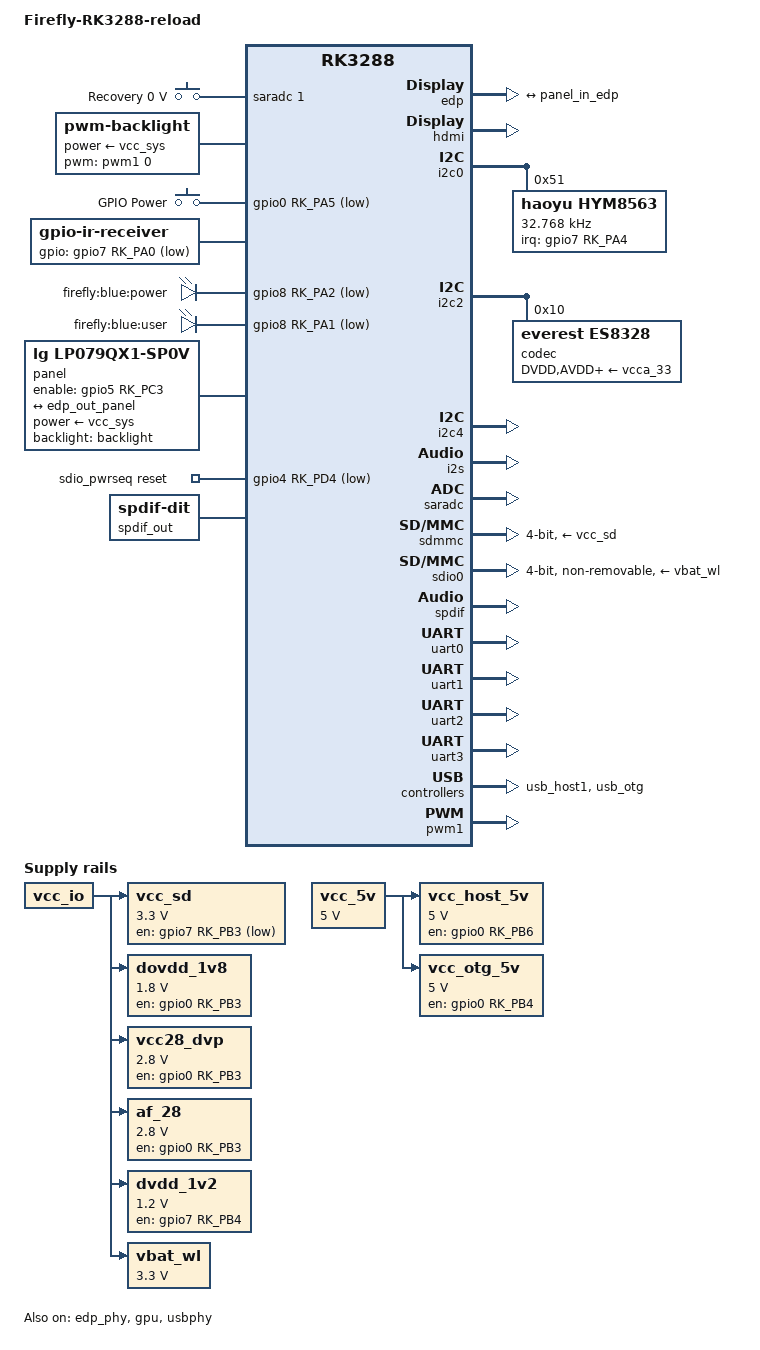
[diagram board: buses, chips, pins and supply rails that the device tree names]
/*
 * Device tree file for Firefly Rockchip RK3288 Core board
 * Copyright (c) 2016 Randy Li <ayaka@soulik.info>
 *
 * This file is dual-licensed: you can use it either under the terms
 * of the GPL or the X11 license, at your option. Note that this dual
 * licensing only applies to this file, and not this project as a
 * whole.
 *
 *  a) This file is free software; you can redistribute it and/or
 *     modify it under the terms of the GNU General Public License as
 *     published by the Free Software Foundation; either version 2 of the
 *     License, or (at your option) any later version.
 *
 *     This file is distributed in the hope that it will be useful,
 *     but WITHOUT ANY WARRANTY; without even the implied warranty of
 *     MERCHANTABILITY or FITNESS FOR A PARTICULAR PURPOSE.  See the
 *     GNU General Public License for more details.
 *
 * Or, alternatively,
 *
 *  b) Permission is hereby granted, free of charge, to any person
 *     obtaining a copy of this software and associated documentation
 *     files (the "Software"), to deal in the Software without
 *     restriction, including without limitation the rights to use,
 *     copy, modify, merge, publish, distribute, sublicense, and/or
 *     sell copies of the Software, and to permit persons to whom the
 *     Software is furnished to do so, subject to the following
 *     conditions:
 *
 *     The above copyright notice and this permission notice shall be
 *     included in all copies or substantial portions of the Software.
 *
 *     THE SOFTWARE IS PROVIDED "AS IS", WITHOUT WARRANTY OF ANY KIND,
 *     EXPRESS OR IMPLIED, INCLUDING BUT NOT LIMITED TO THE WARRANTIES
 *     OF MERCHANTABILITY, FITNESS FOR A PARTICULAR PURPOSE AND
 *     NONINFRINGEMENT. IN NO EVENT SHALL THE AUTHORS OR COPYRIGHT
 *     HOLDERS BE LIABLE FOR ANY CLAIM, DAMAGES OR OTHER LIABILITY,
 *     WHETHER IN AN ACTION OF CONTRACT, TORT OR OTHERWISE, ARISING
 *     FROM, OUT OF OR IN CONNECTION WITH THE SOFTWARE OR THE USE OR
 *     OTHER DEALINGS IN THE SOFTWARE.
 */

/dts-v1/;
#include <dt-bindings/pwm/pwm.h>
#include "rk3288-firefly-reload-core.dtsi"

/ {
	model = "Firefly-RK3288-reload";
	compatible = "firefly,firefly-rk3288-reload", "rockchip,rk3288";

	adc-keys {
		compatible = "adc-keys";
		io-channels = <&saradc 1>;
		io-channel-names = "buttons";
		keyup-threshold-microvolt = <1800000>;

		button-recovery {
			label = "Recovery";
			linux,code = <KEY_BACK>;
			press-threshold-microvolt = <0>;
		};
	};

	backlight: backlight {
		compatible = "pwm-backlight";
		brightness-levels = <
			  3   4   5   6   7
			  8   9  10  11  12  13  14  15
			 16  17  18  19  20  21  22  23
			 24  25  26  27  28  29  30  31
			 32  33  34  35  36  37  38  39
			 40  41  42  43  44  45  46  47
			 48  49  50  51  52  53  54  55
			 56  57  58  59  60  61  62  63
			 64  65  66  67  68  69  70  71
			 72  73  74  75  76  77  78  79
			 80  81  82  83  84  85  86  87
			 88  89  90  91  92  93  94  95
			 96  97  98  99 100 101 102 103
			104 105 106 107 108 109 110 111
			112 113 114 115 116 117 118 119
			120 121 122 123 124 125 126 127
			128 129 130 131 132 133 134 135
			136 137 138 139 140 141 142 143
			144 145 146 147 148 149 150 151
			152 153 154 155 156 157 158 159
			160 161 162 163 164 165 166 167
			168 169 170 171 172 173 174 175
			176 177 178 179 180 181 182 183
			184 185 186 187 188 189 190 191
			192 193 194 195 196 197 198 199
			200 201 202 203 204 205 206 207
			208 209 210 211 212 213 214 215
			216 217 218 219 220 221 222 223
			224 225 226 227 228 229 230 231
			232 233 234 235 236 237 238 239
			240 241 242 243 244 245 246 247
			248 249 250 251 252 253 254 255>;
		default-brightness-level = <180>;
		pwms = <&pwm1 0 25000 0>;
		pwm-names = "backlight";
		power-supply = <&vcc_sys>;
	};

	gpio-keys {
		compatible = "gpio-keys";

		power {
			wakeup-source;
			gpios = <&gpio0 RK_PA5 GPIO_ACTIVE_LOW>;
			label = "GPIO Power";
			linux,code = <KEY_POWER>;
			pinctrl-names = "default";
			pinctrl-0 = <&pwr_key>;
		};
	};

	ir-receiver {
		compatible = "gpio-ir-receiver";
		gpios = <&gpio7 RK_PA0 GPIO_ACTIVE_LOW>;
	};

	leds {
		compatible = "gpio-leds";

		power {
			gpios = <&gpio8 RK_PA2 GPIO_ACTIVE_LOW>;
			label = "firefly:blue:power";
			pinctrl-names = "default";
			pinctrl-0 = <&power_led>;
			panic-indicator;
		};

		work {
			gpios = <&gpio8 RK_PA1 GPIO_ACTIVE_LOW>;
			label = "firefly:blue:user";
			linux,default-trigger = "rc-feedback";
			pinctrl-names = "default";
			pinctrl-0 = <&work_led>;
		};
	};

	panel: panel {
		compatible ="lg,lp079qx1-sp0v";
		power-supply = <&vcc_sys>;
		backlight = <&backlight>;
		enable-gpios = <&gpio5 RK_PC3 GPIO_ACTIVE_HIGH>;
		status = "okay";

		ports {
			panel_in: port {
				panel_in_edp: endpoint {
					remote-endpoint = <&edp_out_panel>;
				};
			};
		};
	};

	sdio_pwrseq: sdio-pwrseq {
		compatible = "mmc-pwrseq-simple";
		clocks = <&hym8563>;
		clock-names = "ext_clock";
		pinctrl-names = "default";
		pinctrl-0 = <&wifi_enable>;
		reset-gpios = <&gpio4 RK_PD4 GPIO_ACTIVE_LOW>;
	};

	sound {
		compatible = "simple-audio-card";
		simple-audio-card,name = "SPDIF";
		simple-audio-card,dai-link@1 {  /* S/PDIF - S/PDIF */
			cpu { sound-dai = <&spdif>; };
			codec { sound-dai = <&spdif_out>; };
		};
	};

	spdif_out: spdif-out {
		compatible = "linux,spdif-dit";
		#sound-dai-cells = <0>;
	};

	vcc_host_5v: usb-host-regulator {
		compatible = "regulator-fixed";
		enable-active-high;
		gpio = <&gpio0 RK_PB6 GPIO_ACTIVE_HIGH>;
		pinctrl-names = "default";
		pinctrl-0 = <&host_vbus_drv>;
		regulator-name = "vcc_host_5v";
		regulator-min-microvolt = <5000000>;
		regulator-max-microvolt = <5000000>;
		regulator-always-on;
		vin-supply = <&vcc_5v>;
	};

	vcc_5v: vcc_sys: vsys-regulator {
		compatible = "regulator-fixed";
		regulator-name = "vcc_5v";
		regulator-min-microvolt = <5000000>;
		regulator-max-microvolt = <5000000>;
		regulator-always-on;
		regulator-boot-on;
	};

	vcc_sd: sdmmc-regulator {
		compatible = "regulator-fixed";
		gpio = <&gpio7 RK_PB3 GPIO_ACTIVE_LOW>;
		pinctrl-names = "default";
		pinctrl-0 = <&sdmmc_pwr>;
		regulator-name = "vcc_sd";
		regulator-min-microvolt = <3300000>;
		regulator-max-microvolt = <3300000>;
		startup-delay-us = <100000>;
		vin-supply = <&vcc_io>;
	};

	vcc_otg_5v: usb-otg-regulator {
		compatible = "regulator-fixed";
		enable-active-high;
		gpio = <&gpio0 RK_PB4 GPIO_ACTIVE_HIGH>;
		pinctrl-names = "default";
		pinctrl-0 = <&otg_vbus_drv>;
		regulator-name = "vcc_otg_5v";
		regulator-min-microvolt = <5000000>;
		regulator-max-microvolt = <5000000>;
		regulator-always-on;
		vin-supply = <&vcc_5v>;
	};

	dovdd_1v8: dovdd-1v8-regulator {
		compatible = "regulator-fixed";
		enable-active-high;
		gpio = <&gpio0 RK_PB3 GPIO_ACTIVE_HIGH>;
		pinctrl-names = "default";
		pinctrl-0 = <&dvp_pwr>;
		regulator-name = "dovdd_1v8";
		regulator-min-microvolt = <1800000>;
		regulator-max-microvolt = <1800000>;
		vin-supply = <&vcc_io>;
	};

	vcc28_dvp: vcc28-dvp-regulator {
		compatible = "regulator-fixed";
		enable-active-high;
		gpio = <&gpio0 RK_PB3 GPIO_ACTIVE_HIGH>;
		pinctrl-names = "default";
		pinctrl-0 = <&dvp_pwr>;
		regulator-name = "vcc28_dvp";
		regulator-min-microvolt = <2800000>;
		regulator-max-microvolt = <2800000>;
		vin-supply = <&vcc_io>;
	};

	af_28: af_28-regulator {
		compatible = "regulator-fixed";
		enable-active-high;
		gpio = <&gpio0 RK_PB3 GPIO_ACTIVE_HIGH>;
		pinctrl-names = "default";
		pinctrl-0 = <&dvp_pwr>;
		regulator-name = "af_28";
		regulator-min-microvolt = <2800000>;
		regulator-max-microvolt = <2800000>;
		vin-supply = <&vcc_io>;
	};

	dvdd_1v2: af_28-regulator {
		compatible = "regulator-fixed";
		enable-active-high;
		gpio = <&gpio7 RK_PB4 GPIO_ACTIVE_HIGH>;
		pinctrl-names = "default";
		pinctrl-0 = <&cif_pwr>;
		regulator-name = "dvdd_1v2";
		regulator-min-microvolt = <1200000>;
		regulator-max-microvolt = <1200000>;
		vin-supply = <&vcc_io>;
	};

	vbat_wl: wifi-regulator {
		compatible = "regulator-fixed";
		regulator-name = "vbat_wl";
		regulator-min-microvolt = <3300000>;
		regulator-max-microvolt = <3300000>;
		vin-supply = <&vcc_io>;
	};
};

&edp {
	status = "okay";
	vcc-supply = <&vdd10_lcd>;
	vccio-supply = <&vcca_18>;
	ports {
		edp_out: port@1 {
			reg = <1>;
			#address-cells = <1>;
			#size-cells = <0>;
			edp_out_panel: endpoint {
				reg = <0>;
				remote-endpoint = <&panel_in_edp>;
			};
		};
	};
};

&edp_phy {
	status = "okay";
};

&gpu {
	status = "okay";
	mali-supply = <&vdd_gpu>;
};

&hdmi {
	status = "okay";
};

&i2c0 {
	hym8563: hym8563@51 {
		compatible = "haoyu,hym8563";
		reg = <0x51>;
		#clock-cells = <0>;
		clock-frequency = <32768>;
		clock-output-names = "xin32k";
		interrupt-parent = <&gpio7>;
		interrupts = <RK_PA4 IRQ_TYPE_EDGE_FALLING>;
		pinctrl-names = "default";
		pinctrl-0 = <&rtc_int>;
	};
};

&i2c2 {
	status = "okay";

	codec: es8328@10 {
		compatible = "everest,es8328";
		DVDD-supply = <&vcca_33>;
		AVDD-supply = <&vcca_33>;
		PVDD-supply = <&vcca_33>;
		HPVDD-supply = <&vcca_33>;
		clocks = <&cru HCLK_I2S0>, <&cru SCLK_I2S0>;
		clock-names = "i2s_hclk", "i2s_clk";
		reg = <0x10>;
	};
};

&i2c4 {
	status = "okay";
};

&i2s {
	status = "okay";
};

&saradc {
	status = "okay";
};

&sdmmc {
	bus-width = <4>;
	cap-mmc-highspeed;
	cap-sd-highspeed;
	card-detect-delay = <200>;
	disable-wp;
	num-slots = <1>;
	pinctrl-names = "default";
	pinctrl-0 = <&sdmmc_clk>, <&sdmmc_cmd>, <&sdmmc_cd>, <&sdmmc_bus4>;
	vmmc-supply = <&vcc_sd>;
	vqmmc-supply = <&vccio_sd>;
	status = "okay";
};

&sdio0 {
	bus-width = <4>;
	cap-sd-highspeed;
	cap-sdio-irq;
	disable-wp;
	mmc-pwrseq = <&sdio_pwrseq>;
	non-removable;
	num-slots = <1>;
	pinctrl-names = "default";
	pinctrl-0 = <&sdio0_bus4>, <&sdio0_cmd>, <&sdio0_clk>, <&sdio0_int>;
	sd-uhs-sdr12;
	sd-uhs-sdr25;
	sd-uhs-sdr50;
	sd-uhs-ddr50;
	vmmc-supply = <&vbat_wl>;
	vqmmc-supply = <&vccio_wl>;
	status = "okay";
};

&spdif {
	status = "okay";
};

&uart0 {
	pinctrl-names = "default";
	pinctrl-0 = <&uart0_xfer>, <&uart0_cts>, <&uart0_rts>;
	status = "okay";
};

&uart1 {
	status = "okay";
};

&uart2 {
	status = "okay";
};

&uart3 {
	status = "okay";
};

&usbphy {
	status = "okay";
};

&usb_host1 {
	pinctrl-names = "default";
	pinctrl-0 = <&usbhub_rst>;
	status = "okay";
};

&usb_otg {
	status = "okay";
};

&pinctrl {
	ir {
		ir_int: ir-int {
			rockchip,pins = <7 0 RK_FUNC_GPIO &pcfg_pull_up>;
		};
	};

	dvp {
		dvp_pwr: dvp-pwr {
			rockchip,pins = <0 11 RK_FUNC_GPIO &pcfg_pull_none>;
		};

		cif_pwr: cif-pwr {
			rockchip,pins = <7 12 RK_FUNC_GPIO &pcfg_pull_none>;
		};
	};

	hym8563 {
		rtc_int: rtc-int {
			rockchip,pins = <7 4 RK_FUNC_GPIO &pcfg_pull_up>;
		};
	};

	keys {
		pwr_key: pwr-key {
			rockchip,pins = <0 5 RK_FUNC_GPIO &pcfg_pull_up>;
		};
	};

	lcd {
		edp_rst: edp-rst {
			rockchip,pins = <5 17 RK_FUNC_GPIO &pcfg_pull_down>;
		};

		lcd_en: lcd-en {
			rockchip,pins = <5 19 RK_FUNC_GPIO &pcfg_pull_up_drv_12ma>;
		};
	};

	leds {
		power_led: power-led {
			rockchip,pins = <8 2 RK_FUNC_GPIO &pcfg_pull_none>;
		};

		work_led: work-led {
			rockchip,pins = <8 1 RK_FUNC_GPIO &pcfg_pull_none>;
		};
	};

	sdmmc {
		/*
		 * Default drive strength isn't enough to achieve even
		 * high-speed mode on firefly board so bump up to 12ma.
		 */
		sdmmc_bus4: sdmmc-bus4 {
			rockchip,pins = <6 16 RK_FUNC_1 &pcfg_pull_up_drv_12ma>,
					<6 17 RK_FUNC_1 &pcfg_pull_up_drv_12ma>,
					<6 18 RK_FUNC_1 &pcfg_pull_up_drv_12ma>,
					<6 19 RK_FUNC_1 &pcfg_pull_up_drv_12ma>;
		};

		sdmmc_clk: sdmmc-clk {
			rockchip,pins = <6 20 RK_FUNC_1 &pcfg_pull_none_12ma>;
		};

		sdmmc_cmd: sdmmc-cmd {
			rockchip,pins = <6 21 RK_FUNC_1 &pcfg_pull_up_drv_12ma>;
		};

		sdmmc_pwr: sdmmc-pwr {
			rockchip,pins = <7 11 RK_FUNC_GPIO &pcfg_pull_none>;
		};
	};

	sdio {
		wifi_enable: wifi-enable {
			rockchip,pins = <4 28 RK_FUNC_GPIO &pcfg_pull_none>;
		};
	};

	usb_host {
		host_vbus_drv: host-vbus-drv {
			rockchip,pins = <0 14 RK_FUNC_GPIO &pcfg_pull_none>;
		};

		usbhub_rst: usbhub-rst {
			rockchip,pins = <8 3 RK_FUNC_GPIO &pcfg_output_high>;
		};
	};

	usb_otg {
		otg_vbus_drv: otg-vbus-drv {
			rockchip,pins = <0 12 RK_FUNC_GPIO &pcfg_pull_none>;
		};
	};
};

&pwm1 {
	status = "okay";
};
